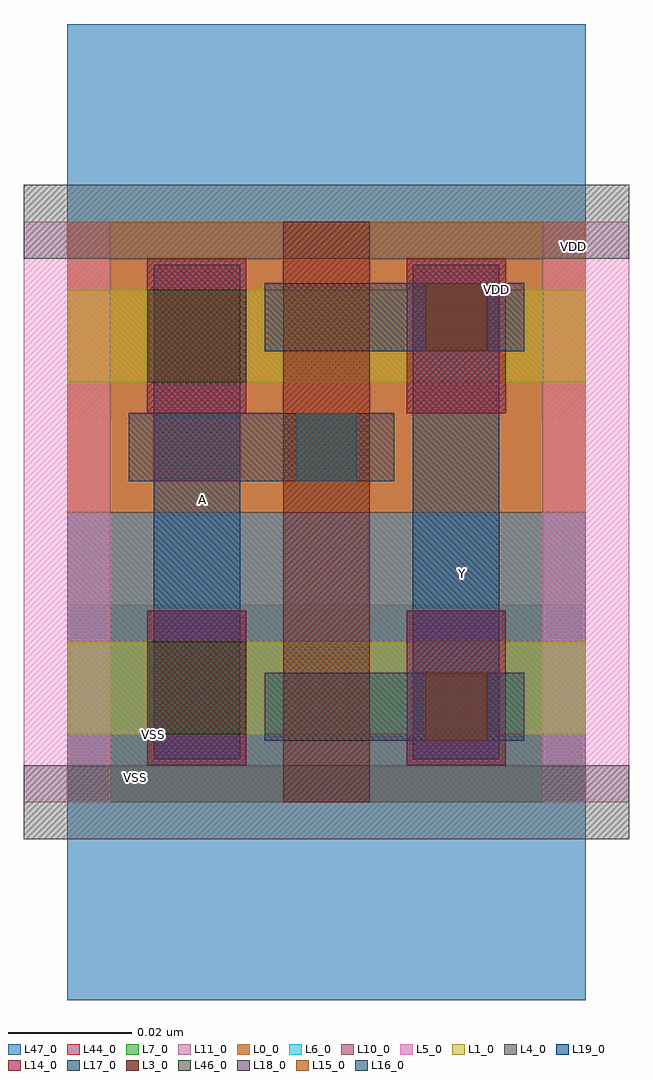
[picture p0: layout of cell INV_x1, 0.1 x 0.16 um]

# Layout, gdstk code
import gdstk
lib = gdstk.Library(unit=1e-6, precision=5e-10)
def R(c, l, rs):  # rectangles x0, y0, x1, y1
    for r in rs: c.add(gdstk.rectangle(r[:2], r[2:], *l))
L0_0 = (0, 0)
L1_0 = (1, 0)
L3_0 = (3, 0)
L4_0 = (4, 0)
L5_0 = (5, 0)
L6_0 = (6, 0)
L7_0 = (7, 0)
L10_0 = (10, 0)
L11_0 = (11, 0)
L14_0 = (14, 0)
L15_0 = (15, 0)
L16_0 = (16, 0)
L17_0 = (17, 0)
L18_0 = (18, 0)
L19_0 = (19, 0)
L44_0 = (44, 0)
L46_0 = (46, 0)
L47_0 = (47, 0)

inv_x1 = lib.new_cell('INV_x1')
R(inv_x1, L0_0, [(0,0.047,0.084,0.094)])
R(inv_x1, L1_0, [(0,0.011,0.084,0.026), (0,0.068,0.084,0.083)])
R(inv_x1, L3_0, [(0.035,0,0.049,0.094)])
R(inv_x1, L4_0, [(-0.007,-0.006,0.091,0.006), (-0.007,0.088,0.091,0.1)])
R(inv_x1, L5_0, [(-0.007,0,0.007,0.094), (0.077,0,0.091,0.094)])
R(inv_x1, L6_0, [(0,0,0.084,0.047)])
R(inv_x1, L7_0, [(0,0.047,0.084,0.094)])
R(inv_x1, L10_0, [(0,0,0.084,0.047)])
R(inv_x1, L11_0, [(0,0.047,0.084,0.094)])
R(inv_x1, L14_0, [(0.013,0.006,0.029,0.031), (0.055,0.006,0.071,0.031), (0.013,0.063,0.029,0.088), (0.055,0.063,0.071,0.088)])
R(inv_x1, L15_0, [(0.058,0.01,0.068,0.021), (0.058,0.073,0.068,0.084)])
R(inv_x1, L16_0, [(0.037,0.052,0.047,0.063)])
R(inv_x1, L17_0, [(0.032,0.01,0.074,0.021), (0.01,0.052,0.053,0.063), (0.032,0.073,0.074,0.084)])
R(inv_x1, L18_0, [(0.056,0.01,0.07,0.021), (0.014,0.052,0.028,0.063), (0.056,0.073,0.07,0.084)])
R(inv_x1, L19_0, [(0.014,0.007,0.028,0.087), (0.056,0.007,0.07,0.087)])
R(inv_x1, L44_0, [(0,0,0.084,0.094)])
R(inv_x1, L46_0, [(0.013,0.011,0.029,0.026), (0.013,0.068,0.029,0.083)])
R(inv_x1, L47_0, [(0,-0.032,0.084,0.032), (0,0.062,0.084,0.126)])
inv_x1.add(gdstk.Label('VSS', (0.011,0.004), layer=54, texttype=2))
inv_x1.add(gdstk.Label('VSS', (0.014,0.011), layer=47, texttype=2))
inv_x1.add(gdstk.Label('VDD', (0.0695,0.083), layer=47, texttype=2))
inv_x1.add(gdstk.Label('VDD', (0.082,0.09), layer=0, texttype=2))
inv_x1.add(gdstk.Label('Y', (0.064,0.037), layer=19, texttype=2))
inv_x1.add(gdstk.Label('A', (0.022,0.049), layer=19, texttype=2))

lib.write_gds('INV_x1.gds')
